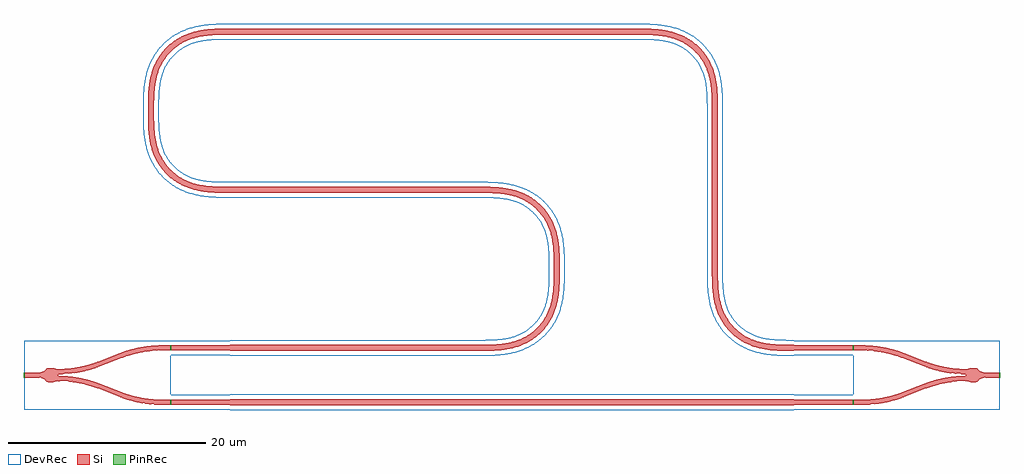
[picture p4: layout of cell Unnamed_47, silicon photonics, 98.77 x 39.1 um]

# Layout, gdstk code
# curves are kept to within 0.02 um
from math import pi, radians
import gdstk
lib = gdstk.Library(unit=1e-6, precision=1e-09)
def R(c, l, rs):  # rectangles x0, y0, x1, y1
    for r in rs: c.add(gdstk.rectangle(r[:2], r[2:], *l))
def P(c, l, *ps):  # polygons
    for p in ps: c.add(gdstk.Polygon(p, *l))
Si = (1, 0)
PinRec = (1, 10)
DevRec = (68, 0)

ebeam_y_1550 = lib.new_cell('ebeam_y_1550')
R(ebeam_y_1550, Si, [(6.5,-3,7.4,-2.5), (-7.4,-0.25,-6,0.25), (6.5,2.5,7.4,3)])
P(ebeam_y_1550, Si, [(6.458,-3),(6.237,-2.997),(6.237,-2.497),(6.5,-2.5),(6.5,-3)],
  [(5.033,-2.908),(4.288,-2.79),(3.59,-2.634),(2.922,-2.442),(2.265,-2.21),(2.445,-1.744),(3.075,-1.966),(3.731,-2.154),(5.033,-2.404)],
  [(6.233,-2.997),(5.033,-2.908),(5.033,-2.404),(6.237,-2.497)],
  [(2.265,-2.21),(0.055,-1.356),(0.235,-0.89),(2.445,-1.744)],
  [(-0.762,-1.076),(-1.532,-0.874),(-2.334,-0.724),(-3.178,-0.63),(-4,-0.6),(-4,-0.1),(-3.16,-0.13),(-2.381,-0.212),(-1.565,-0.355),(-0.762,-0.555)],
  [(0.055,-1.356),(-0.762,-1.076),(-0.762,-0.555),(0.235,-0.89)],
  [(6.237,2.497),(6.237,2.997),(6.5,3),(6.5,2.5)],
  [(2.445,1.744),(2.267,2.211),(2.922,2.442),(3.59,2.634),(4.288,2.79),(5.033,2.908),(5.033,2.404),(3.731,2.154),(3.075,1.966)],
  [(5.033,2.404),(5.033,2.908),(6.237,2.997),(6.237,2.497)],
  [(0.235,0.89),(0.055,1.356),(2.265,2.21),(2.445,1.744)],
  [(-4,0.1),(-4,0.6),(-3.178,0.63),(-2.334,0.724),(-1.532,0.874),(-0.762,1.076),(-0.762,0.555),(-1.565,0.355),(-2.381,0.212),(-3.16,0.13)],
  [(-0.762,0.555),(-0.762,1.076),(0.055,1.356),(0.235,0.89)],
  [(-5.122,-0.662),(-5.442,-0.374),(-5.808,-0.255),(-6,-0.25),(-6,0.25),(-5.817,0.253),(-5.442,0.374),(-5.122,0.662)],
  [(-4.957,-0.703),(-5.122,-0.662),(-5.122,0.662),(-4.978,0.702),(-4.538,0.703),(-4.167,0.6),(-4,0.6),(-4,-0.6),(-4.167,-0.6),(-4.509,-0.701)])
R(ebeam_y_1550, PinRec, [(7.35,-3,7.45,-2.5), (-7.45,-0.25,-7.35,0.25), (7.35,2.5,7.45,3)])
R(ebeam_y_1550, DevRec, [(-7.4,-3.5,7.4,3.5)])
ebeam_y_1550.add(gdstk.Label('Component=ebeam_y_1550', (-6,1.5), layer=68, texttype=0))
ebeam_y_1550.add(gdstk.Label('Lumerical_INTERCONNECT_library=Design kits/ebeam', (-6.86,-2.19), layer=68, texttype=0))
ebeam_y_1550.add(gdstk.Label('opt2', (7.4,2.75), layer=1, texttype=10))
ebeam_y_1550.add(gdstk.Label('opt3', (7.4,-2.75), layer=1, texttype=10))
ebeam_y_1550.add(gdstk.Label('opt1', (-7.4,0), layer=1, texttype=10))
ebeam_y_1550.add(gdstk.Label('Ref: Y Zhang, Opt. Express, 21/1, 2013', (-7.5,-1), layer=10, texttype=0))

taper_gdsfactorypcompone = lib.new_cell('taper_gdsfactorypcomponentsptapersptaper_L6_W0p5_W0p6_L_5e6cea1b')
P(taper_gdsfactorypcompone, Si, [(6,-0.3),(0,-0.25),(0,0.25),(6,0.3)])
P(taper_gdsfactorypcompone, DevRec, [(6,-0.8),(0,-0.75),(0,0.75),(6,0.8)])

straight_l57p073_csxs_0b = lib.new_cell('straight_L57p073_CSxs_0bcc98d1_WNone_N2')
R(straight_l57p073_csxs_0b, Si, [(0,-0.3,57.073,0.3)])
R(straight_l57p073_csxs_0b, DevRec, [(0,-0.8,57.073,0.8)])

bend_euler_r8_a90_p0p5_w = lib.new_cell('bend_euler_R8_A90_P0p5_W0p6_CSxs_0bcc98d1_AMRVFalse')
P(bend_euler_r8_a90_p0p5_w, Si, [(0,-0.3),(0,0.3),(1.238,0.313),(2.187,0.371),(2.984,0.483),(3.631,0.635),(4.374,0.903),(4.957,1.205),(5.498,1.576),(5.989,2.011),(6.424,2.502),(6.795,3.043),(7.097,3.626),(7.365,4.369),(7.517,5.016),(7.629,5.813),(7.687,6.762),(7.7,8),(8.3,8),(8.287,6.743),(8.226,5.754),(8.107,4.905),(7.941,4.203),(7.703,3.517),(7.383,2.861),(6.897,2.133),(6.413,1.587),(5.867,1.103),(5.139,0.617),(4.483,0.297),(3.797,0.059),(3.095,-0.107),(2.246,-0.226),(1.257,-0.287)])
P(bend_euler_r8_a90_p0p5_w, DevRec, [(0,-0.8),(0,0.8),(1.88,0.846),(2.644,0.932),(3.375,1.083),(3.952,1.269),(4.597,1.574),(5.19,1.971),(5.635,2.365),(6.029,2.81),(6.426,3.403),(6.731,4.048),(6.917,4.625),(7.068,5.356),(7.154,6.12),(7.2,8),(8.8,8),(8.787,6.727),(8.724,5.705),(8.569,4.663),(8.378,3.916),(8.102,3.18),(7.738,2.478),(7.291,1.826),(6.767,1.233),(6.174,0.709),(5.522,0.262),(4.82,-0.102),(4.084,-0.378),(3.337,-0.569),(2.295,-0.724),(1.273,-0.787)])

straight_l25p073_csxs_0b = lib.new_cell('straight_L25p073_CSxs_0bcc98d1_WNone_N2')
R(straight_l25p073_csxs_0b, Si, [(0,-0.3,25.073,0.3)])
R(straight_l25p073_csxs_0b, DevRec, [(0,-0.8,25.073,0.8)])

straight_l41p073_csxs_0b = lib.new_cell('straight_L41p073_CSxs_0bcc98d1_WNone_N2')
R(straight_l41p073_csxs_0b, Si, [(0,-0.3,41.073,0.3)])
R(straight_l41p073_csxs_0b, DevRec, [(0,-0.8,41.073,0.8)])

straight_l16_csxs_0bcc98 = lib.new_cell('straight_L16_CSxs_0bcc98d1_WNone_N2')
R(straight_l16_csxs_0bcc98, Si, [(0,-0.3,16,0.3)])
R(straight_l16_csxs_0bcc98, DevRec, [(0,-0.8,16,0.8)])

unnamed_47 = lib.new_cell('Unnamed_47')
unnamed_47.add(gdstk.Reference(ebeam_y_1550, (0,0)))
unnamed_47.add(gdstk.Reference(ebeam_y_1550, (83.873,0), rotation=pi))
unnamed_47.add(gdstk.Reference(taper_gdsfactorypcompone, (7.4,2.75)))
unnamed_47.add(gdstk.Reference(taper_gdsfactorypcompone, (7.4,-2.75)))
unnamed_47.add(gdstk.Reference(taper_gdsfactorypcompone, (76.473,2.75), rotation=pi))
unnamed_47.add(gdstk.Reference(taper_gdsfactorypcompone, (76.473,-2.75), rotation=pi))
unnamed_47.add(gdstk.Reference(straight_l57p073_csxs_0b, (13.4,-2.75)))
unnamed_47.add(gdstk.Reference(bend_euler_r8_a90_p0p5_w, (46.473,10.75), rotation=3*pi/2, x_reflection=True))
unnamed_47.add(gdstk.Reference(straight_l25p073_csxs_0b, (13.4,2.75)))
unnamed_47.add(gdstk.Reference(bend_euler_r8_a90_p0p5_w, (38.473,18.75), x_reflection=True))
unnamed_47.add(gdstk.Reference(bend_euler_r8_a90_p0p5_w, (5.4,26.75), rotation=3*pi/2))
unnamed_47.add(gdstk.Reference(straight_l25p073_csxs_0b, (38.473,18.75), rotation=pi))
unnamed_47.add(gdstk.Reference(bend_euler_r8_a90_p0p5_w, (13.4,34.75), rotation=pi))
unnamed_47.add(gdstk.Reference(bend_euler_r8_a90_p0p5_w, (62.473,26.75), rotation=pi/2))
unnamed_47.add(gdstk.Reference(straight_l41p073_csxs_0b, (13.4,34.75)))
unnamed_47.add(gdstk.Reference(bend_euler_r8_a90_p0p5_w, (70.473,2.75), rotation=pi, x_reflection=True))
unnamed_47.add(gdstk.Reference(straight_l16_csxs_0bcc98, (62.473,26.75), rotation=3*pi/2))

lib.write_gds('Unnamed_47.gds')
